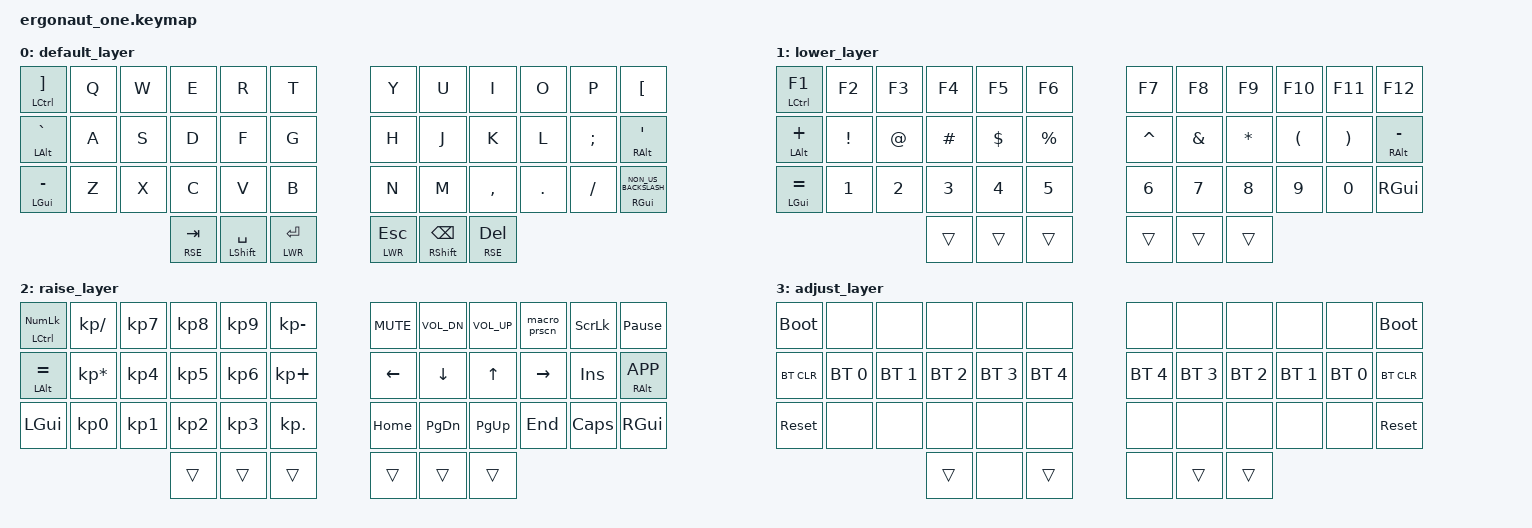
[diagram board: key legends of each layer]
#include <behaviors.dtsi>
#include <dt-bindings/zmk/bt.h>
#include <dt-bindings/zmk/keys.h>

#define DEF 0
#define LWR 1
#define RSE 2
#define ADJ 3

&lt { quick-tap-ms = <200>; };

&mt { quick-tap-ms = <200>; };

/ {
    conditional_layers {
        compatible = "zmk,conditional-layers";

        tri-layer {
            if-layers = <1 2>;
            then-layer = <3>;
        };
    };

    combos { compatible = "zmk,combos"; };

    macros {
        macro_prscn: macro_prscn {
            compatible = "zmk,behavior-macro";
            #binding-cells = <0>;
            bindings = <&kp LG(LS(NUMBER_4))>;
            label = "MACRO_PRSCN";
        };
    };

    keymap {
        compatible = "zmk,keymap";

        default_layer {
            bindings = <
&mt LCTRL RBKT  &kp Q  &kp W  &kp E        &kp R            &kp T        &kp Y        &kp U           &kp I        &kp O    &kp P     &kp LBKT
&mt LALT GRAVE  &kp A  &kp S  &kp D        &kp F            &kp G        &kp H        &kp J           &kp K        &kp L    &kp SEMI  &mt RALT SQT
&mt LGUI MINUS  &kp Z  &kp X  &kp C        &kp V            &kp B        &kp N        &kp M           &kp COMMA    &kp DOT  &kp FSLH  &mt RGUI NON_US_BACKSLASH
                              &lt RSE TAB  &mt LSHFT SPACE  &lt LWR RET  &lt LWR ESC  &mt RSHFT BSPC  &lt RSE DEL
            >;
        };

        lower_layer {
            bindings = <
&mt LCTRL F1    &kp F2    &kp F3  &kp F4    &kp F5    &kp F6     &kp F7     &kp F8    &kp F9    &kp F10   &kp F11   &kp F12
&mt LALT PLUS   &kp EXCL  &kp AT  &kp HASH  &kp DLLR  &kp PRCNT  &kp CARET  &kp AMPS  &kp STAR  &kp LPAR  &kp RPAR  &mt RALT MINUS
&mt LGUI EQUAL  &kp N1    &kp N2  &kp N3    &kp N4    &kp N5     &kp N6     &kp N7    &kp N8    &kp N9    &kp N0    &kp RGUI
                                  &trans    &trans    &trans     &trans     &trans    &trans
            >;
        };

        raise_layer {
            bindings = <
&mt LCTRL KP_NUM  &kp KP_SLASH     &kp KP_N7  &kp KP_N8  &kp KP_N9  &kp KP_MINUS  &kp C_MUTE  &kp C_VOL_DN   &kp C_VOL_UP  &macro_prscn  &kp SLCK      &kp PAUSE_BREAK
&mt LALT EQUAL    &kp KP_MULTIPLY  &kp KP_N4  &kp KP_N5  &kp KP_N6  &kp KP_PLUS   &kp LEFT    &kp DOWN       &kp UP        &kp RIGHT     &kp INS       &mt RALT K_APP
&kp LGUI          &kp KP_N0        &kp KP_N1  &kp KP_N2  &kp KP_N3  &kp KP_DOT    &kp HOME    &kp PAGE_DOWN  &kp PG_UP     &kp END       &kp CAPSLOCK  &kp RGUI
                                              &trans     &trans     &trans        &trans      &trans         &trans
            >;
        };

        adjust_layer {
            bindings = <
&bootloader  &none         &none         &none         &none         &none         &none         &none         &none         &none         &none         &bootloader
&bt BT_CLR   &bt BT_SEL 0  &bt BT_SEL 1  &bt BT_SEL 2  &bt BT_SEL 3  &bt BT_SEL 4  &bt BT_SEL 4  &bt BT_SEL 3  &bt BT_SEL 2  &bt BT_SEL 1  &bt BT_SEL 0  &bt BT_CLR
&sys_reset   &none         &none         &none         &none         &none         &none         &none         &none         &none         &none         &sys_reset
                                         &trans        &none         &trans        &none         &trans        &trans
            >;
        };
    };
};
